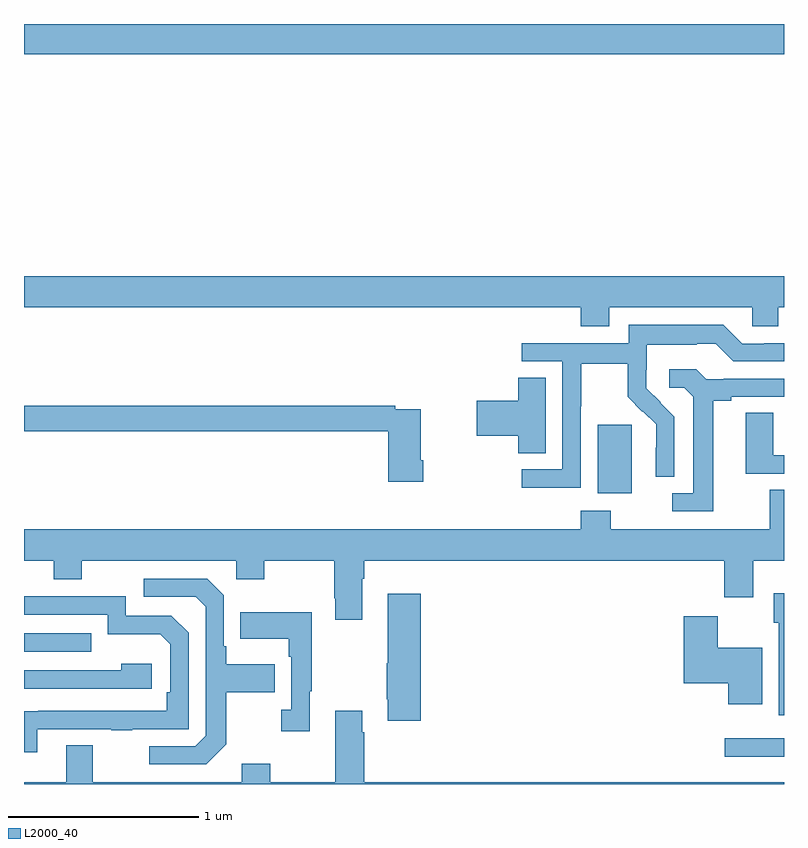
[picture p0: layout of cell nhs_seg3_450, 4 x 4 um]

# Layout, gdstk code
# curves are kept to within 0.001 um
import gdstk
lib = gdstk.Library(unit=1e-6, precision=1e-09)
def R(c, l, rs):  # rectangles x0, y0, x1, y1
    for r in rs: c.add(gdstk.rectangle(r[:2], r[2:], *l))
def P(c, l, *ps):  # polygons
    for p in ps: c.add(gdstk.Polygon(p, *l))
L2000_40 = (2000, 40)

nhs_seg3_450 = lib.new_cell('nhs_seg3_450')
R(nhs_seg3_450, L2000_40, [(136.689,706.544,137,706.641), (133,707.097,133.355,707.193), (136.019,707.93,136.198,708.291), (133,710.24,137,710.4)])
P(nhs_seg3_450, L2000_40, [(136.081,708.908),(136.833,708.908),(136.833,708.81),(136.971,708.81),(136.971,708.908),(137,708.908),(137,709.072),(133,709.072),(133,708.908),(135.929,708.908),(135.929,708.809),(136.081,708.809)],
  [(135.93,708.388),(135.933,708.388),(135.933,708.612),(136.177,708.612),(136.177,708.437),(136.254,708.36),(136.257,708.363),(136.328,708.293),(136.328,708.17),(136.326,708.17),(136.326,708.016),(136.422,708.016),(136.422,708.334),(136.276,708.482),(136.276,708.579),(136.278,708.579),(136.278,708.713),(136.541,708.713),(136.541,708.717),(136.641,708.717),(136.734,708.624),(137,708.624),(137,708.72),(136.895,708.72),(136.895,708.717),(136.779,708.717),(136.679,708.817),(136.182,708.817),(136.182,708.72),(135.621,708.72),(135.621,708.624),(135.834,708.624),(135.834,708.057),(135.621,708.057),(135.621,707.959),(135.93,707.959)],
  [(136.627,708.416),(136.723,708.416),(136.723,708.438),(137,708.438),(137,708.534),(136.684,708.534),(136.684,708.531),(136.59,708.531),(136.538,708.583),(136.395,708.583),(136.395,708.486),(136.476,708.486),(136.523,708.439),(136.523,707.931),(136.413,707.931),(136.413,707.835),(136.627,707.835)],
  [(135.745,708.539),(135.602,708.539),(135.602,708.416),(135.384,708.416),(135.384,708.233),(135.602,708.233),(135.602,708.142),(135.745,708.142)],
  [(135.101,708.103),(135.088,708.103),(135.088,708.372),(134.954,708.372),(134.954,708.392),(133,708.392),(133,708.256),(134.918,708.256),(134.918,707.991),(135.101,707.991)],
  [(137,708.129),(136.944,708.129),(136.944,708.353),(136.799,708.353),(136.799,708.033),(137,708.033)],
  [(134.779,707.48),(134.792,707.48),(134.792,707.576),(136.685,707.576),(136.685,707.382),(136.837,707.382),(136.837,707.576),(137,707.576),(137,707.948),(136.925,707.948),(136.925,707.74),(136.089,707.74),(136.089,707.839),(135.929,707.839),(135.929,707.74),(133,707.74),(133,707.576),(133.157,707.576),(133.157,707.477),(133.305,707.477),(133.305,707.576),(134.118,707.576),(134.118,707.477),(134.265,707.477),(134.265,707.576),(134.632,707.576),(134.632,707.377),(134.639,707.377),(134.639,707.265),(134.779,707.265)],
  [(134.065,706.609),(134.065,706.882),(134.321,706.882),(134.321,707.029),(134.065,707.029),(134.065,707.125),(134.052,707.125),(134.052,707.394),(133.965,707.481),(133.629,707.481),(133.629,707.385),(133.905,707.385),(133.956,707.334),(133.956,706.653),(133.902,706.599),(133.659,706.599),(133.659,706.503),(133.959,706.503)],
  [(137,707.404),(136.946,707.404),(136.946,707.25),(136.973,707.25),(136.973,706.761),(137,706.761)],
  [(135.088,707.401),(134.915,707.401),(134.915,707.035),(134.908,707.035),(134.908,706.846),(134.915,706.846),(134.915,706.734),(135.088,706.734)],
  [(133.069,706.689),(133.459,706.689),(133.459,706.684),(133.571,706.684),(133.571,706.689),(133.866,706.689),(133.866,707.196),(133.776,707.286),(133.536,707.286),(133.536,707.388),(133,707.388),(133,707.292),(133.44,707.292),(133.44,707.189),(133.717,707.189),(133.77,707.136),(133.77,706.882),(133.75,706.882),(133.75,706.785),(133,706.784),(133,706.566),(133.069,706.566)],
  [(134.503,706.889),(134.515,706.889),(134.515,707.305),(134.137,707.305),(134.137,707.165),(134.394,707.165),(134.394,707.069),(134.406,707.069),(134.406,706.79),(134.355,706.79),(134.355,706.677),(134.503,706.677)],
  [(136.885,707.116),(136.65,707.116),(136.65,707.284),(136.472,707.284),(136.472,706.931),(136.706,706.931),(136.706,706.82),(136.885,706.82)],
  [(133.672,707.032),(133.511,707.032),(133.511,706.998),(133,706.998),(133,706.902),(133.672,706.902)],
  [(137,706.408),(134.792,706.408),(134.792,706.673),(134.779,706.673),(134.779,706.786),(134.639,706.786),(134.639,706.408),(134.295,706.408),(134.295,706.507),(134.147,706.507),(134.147,706.408),(133.363,706.408),(133.363,706.603),(133.223,706.603),(133.223,706.408),(133,706.408),(133,706.4),(137,706.4)])

lib.write_gds('nhs_seg3_450.gds')
